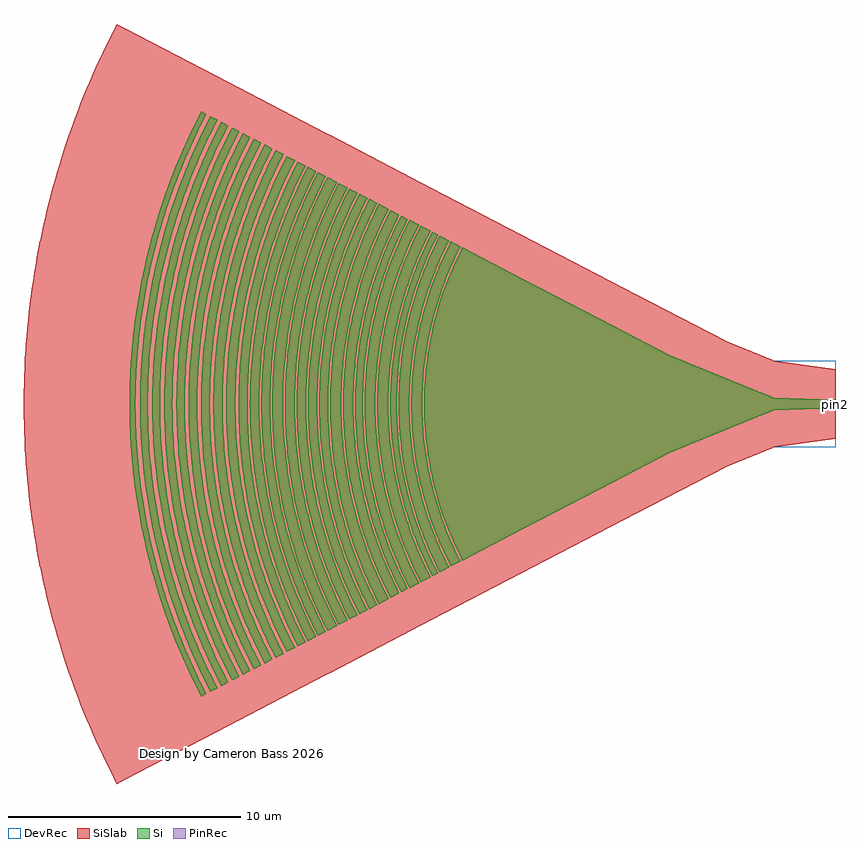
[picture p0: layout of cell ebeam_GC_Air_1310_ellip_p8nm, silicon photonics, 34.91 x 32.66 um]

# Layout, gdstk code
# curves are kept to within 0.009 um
import gdstk
lib = gdstk.Library(unit=1e-6, precision=1e-09)
def P(c, l, *ps):  # polygons
    for p in ps: c.add(gdstk.Polygon(p, *l))
Si = (1, 0)
PinRec = (1, 10)
SiSlab = (2, 0)
DevRec = (68, 0)

ebeam_gc_air_1310_ellip_ = lib.new_cell('ebeam_GC_Air_1310_ellip_p8nm')
P(ebeam_gc_air_1310_ellip_, Si, [(-16.051,-6.727),(-16.417,-5.972),(-16.792,-5.056),(-17.021,-4.386),(-17.286,-3.433),(-17.462,-2.602),(-17.589,-1.764),(-17.667,-0.919),(-17.695,-0.071),(-17.667,0.919),(-17.589,1.764),(-17.462,2.603),(-17.286,3.433),(-17.021,4.386),(-16.792,5.056),(-16.417,5.972),(-16.051,6.727),(-7.089,2.064),(-2.649,0.258),(0,0.175),(0,-0.175),(-2.649,-0.258),(-2.689,-0.269),(-2.843,-0.344),(-3.197,-0.477),(-7.12,-2.077)],
  [(-16.543,-6.982),(-16.92,-6.202),(-17.257,-5.388),(-17.547,-4.555),(-17.787,-3.708),(-17.978,-2.848),(-18.118,-1.977),(-18.217,-0.955),(-18.247,-0.073),(-18.226,0.807),(-18.136,1.832),(-18.005,2.703),(-17.822,3.565),(-17.59,4.415),(-17.309,5.251),(-16.92,6.202),(-16.544,6.983),(-16.126,6.765),(-16.494,6.007),(-16.871,5.085),(-17.142,4.277),(-17.367,3.453),(-17.544,2.619),(-17.672,1.774),(-17.759,0.782),(-17.779,-0.071),(-17.759,-0.782),(-17.672,-1.774),(-17.518,-2.758),(-17.333,-3.591),(-17.1,-4.413),(-16.821,-5.218),(-16.494,-6.007),(-16.126,-6.765)],
  [(-17.024,-7.233),(-17.414,-6.426),(-17.763,-5.583),(-18.063,-4.72),(-18.312,-3.842),(-18.509,-2.951),(-18.654,-2.049),(-18.747,-1.141),(-18.774,-0.684),(-18.788,-0.076),(-18.766,0.836),(-18.691,1.747),(-18.634,2.2),(-18.537,2.8),(-18.348,3.694),(-18.108,4.574),(-17.817,5.44),(-17.414,6.426),(-17.024,7.233),(-16.617,7.021),(-16.874,6.506),(-17.057,6.102),(-17.388,5.28),(-17.67,4.44),(-17.904,3.585),(-18.087,2.719),(-18.22,1.842),(-18.301,0.959),(-18.331,0.074),(-18.31,-0.812),(-18.22,-1.842),(-18.087,-2.719),(-17.904,-3.585),(-17.67,-4.44),(-17.336,-5.418),(-16.997,-6.237),(-16.617,-7.021)],
  [(-17.344,-7.4),(-17.546,-6.998),(-17.806,-6.432),(-18.156,-5.566),(-18.407,-4.829),(-18.662,-3.931),(-18.864,-3.018),(-18.945,-2.558),(-19.032,-1.942),(-19.118,-1.012),(-19.149,-0.078),(-19.145,0.389),(-19.118,1.012),(-19.032,1.942),(-18.892,2.865),(-18.699,3.78),(-18.453,4.68),(-18.156,5.566),(-17.743,6.575),(-17.344,7.4),(-17.099,7.271),(-17.553,6.321),(-17.896,5.469),(-18.096,4.891),(-18.274,4.306),(-18.393,3.863),(-18.531,3.266),(-18.695,2.363),(-18.791,1.604),(-18.85,0.842),(-18.872,0.077),(-18.857,-0.689),(-18.806,-1.451),(-18.695,-2.363),(-18.562,-3.116),(-18.465,-3.565),(-18.315,-4.158),(-18.188,-4.6),(-17.998,-5.181),(-17.787,-5.755),(-17.553,-6.321),(-17.099,-7.271)],
  [(-17.84,-7.658),(-18.252,-6.804),(-18.679,-5.761),(-18.987,-4.844),(-19.241,-3.912),(-19.441,-2.965),(-19.585,-2.01),(-19.674,-1.046),(-19.707,-0.08),(-19.683,0.886),(-19.604,1.85),(-19.469,2.807),(-19.348,3.441),(-19.241,3.912),(-18.987,4.844),(-18.679,5.761),(-18.252,6.805),(-17.84,7.658),(-17.419,7.438),(-17.82,6.61),(-18.179,5.742),(-18.487,4.855),(-18.743,3.952),(-18.975,2.881),(-19.115,1.952),(-19.179,1.329),(-19.211,0.86),(-19.233,0.078),(-19.211,-0.86),(-19.179,-1.329),(-19.115,-1.952),(-18.975,-2.881),(-18.78,-3.799),(-18.487,-4.855),(-18.179,-5.742),(-17.82,-6.61),(-17.419,-7.438)],
  [(-18.32,-7.908),(-18.746,-7.026),(-19.006,-6.414),(-19.185,-5.949),(-19.505,-5.002),(-19.767,-4.039),(-19.973,-3.062),(-20.123,-2.075),(-20.214,-1.082),(-20.248,-0.083),(-20.224,0.915),(-20.142,1.91),(-20.03,2.734),(-19.911,3.39),(-19.806,3.878),(-19.643,4.523),(-19.505,5.002),(-19.186,5.949),(-19.006,6.414),(-18.746,7.027),(-18.32,7.908),(-17.916,7.697),(-18.331,6.84),(-18.523,6.394),(-18.759,5.79),(-19.068,4.87),(-19.324,3.932),(-19.525,2.981),(-19.67,2.02),(-19.76,1.052),(-19.793,0.081),(-19.769,-0.891),(-19.689,-1.859),(-19.605,-2.502),(-19.525,-2.981),(-19.324,-3.931),(-19.068,-4.869),(-18.92,-5.331),(-18.702,-5.942),(-18.331,-6.84),(-17.916,-7.697)],
  [(-18.682,-8.096),(-18.976,-7.502),(-19.187,-7.037),(-19.569,-6.09),(-19.895,-5.121),(-20.164,-4.135),(-20.375,-3.135),(-20.528,-2.124),(-20.622,-1.107),(-20.656,-0.085),(-20.632,0.936),(-20.548,1.956),(-20.405,2.967),(-20.277,3.637),(-20.164,4.135),(-19.895,5.121),(-19.569,6.09),(-19.187,7.038),(-18.976,7.503),(-18.682,8.096),(-18.395,7.947),(-18.684,7.366),(-18.958,6.755),(-19.147,6.291),(-19.378,5.663),(-19.536,5.187),(-19.724,4.545),(-19.888,3.896),(-19.994,3.406),(-20.139,2.583),(-20.244,1.753),(-20.309,0.92),(-20.333,0.084),(-20.309,-0.92),(-20.244,-1.753),(-20.139,-2.583),(-19.994,-3.406),(-19.888,-3.896),(-19.724,-4.545),(-19.536,-5.187),(-19.378,-5.663),(-19.207,-6.134),(-18.958,-6.755),(-18.684,-7.366),(-18.395,-7.946)],
  [(-19.14,-8.335),(-19.589,-7.406),(-19.864,-6.76),(-20.054,-6.27),(-20.389,-5.272),(-20.666,-4.257),(-20.883,-3.227),(-21.041,-2.187),(-21.137,-1.14),(-21.173,-0.088),(-21.163,0.614),(-21.137,1.14),(-21.041,2.187),(-20.883,3.227),(-20.666,4.257),(-20.389,5.272),(-20.054,6.27),(-19.66,7.246),(-19.443,7.724),(-19.14,8.335),(-18.758,8.135),(-19.197,7.229),(-19.465,6.598),(-19.649,6.119),(-19.976,5.146),(-20.247,4.155),(-20.459,3.151),(-20.613,2.135),(-20.707,1.112),(-20.742,0.086),(-20.717,-0.942),(-20.633,-1.965),(-20.489,-2.982),(-20.395,-3.486),(-20.247,-4.155),(-19.976,-5.146),(-19.764,-5.796),(-19.589,-6.279),(-19.197,-7.228),(-18.758,-8.135)],
  [(-19.639,-8.595),(-20.1,-7.639),(-20.515,-6.637),(-20.871,-5.611),(-21.167,-4.567),(-21.401,-3.508),(-21.574,-2.436),(-21.684,-1.356),(-21.715,-0.814),(-21.733,-0.09),(-21.707,0.994),(-21.617,2.077),(-21.466,3.151),(-21.33,3.862),(-21.21,4.392),(-20.925,5.438),(-20.579,6.467),(-20.173,7.474),(-19.949,7.968),(-19.639,8.595),(-19.216,8.374),(-19.667,7.441),(-20.072,6.464),(-20.47,5.298),(-20.706,4.448),(-20.934,3.416),(-21.103,2.373),(-21.181,1.672),(-21.222,1.144),(-21.258,0.088),(-21.253,-0.441),(-21.222,-1.144),(-21.125,-2.197),(-20.967,-3.243),(-20.748,-4.277),(-20.47,-5.297),(-20.308,-5.8),(-20.072,-6.464),(-19.667,-7.441),(-19.216,-8.374)],
  [(-20.054,-8.811),(-20.528,-7.829),(-20.953,-6.802),(-21.319,-5.75),(-21.622,-4.68),(-21.862,-3.595),(-22.039,-2.496),(-22.152,-1.39),(-22.184,-0.834),(-22.202,-0.093),(-22.175,1.019),(-22.084,2.128),(-22.014,2.68),(-21.896,3.412),(-21.666,4.501),(-21.373,5.573),(-21.019,6.628),(-20.603,7.66),(-20.373,8.166),(-20.054,8.811),(-19.718,8.635),(-20.182,7.675),(-20.599,6.667),(-20.956,5.638),(-21.253,4.588),(-21.489,3.523),(-21.583,2.987),(-21.685,2.267),(-21.785,1.18),(-21.822,0.091),(-21.812,-0.636),(-21.743,-1.724),(-21.638,-2.627),(-21.454,-3.701),(-21.338,-4.234),(-21.161,-4.94),(-20.956,-5.637),(-20.724,-6.326),(-20.534,-6.836),(-20.256,-7.508),(-20.03,-8.005),(-19.718,-8.635)],
  [(-20.474,-9.03),(-20.961,-8.022),(-21.397,-6.969),(-21.771,-5.892),(-22.082,-4.796),(-22.253,-4.056),(-22.363,-3.496),(-22.533,-2.369),(-22.638,-1.235),(-22.677,-0.095),(-22.649,1.044),(-22.555,2.181),(-22.396,3.309),(-22.292,3.87),(-22.127,4.612),(-21.827,5.711),(-21.654,6.254),(-21.464,6.791),(-21.038,7.848),(-20.721,8.538),(-20.474,9.03),(-20.13,8.85),(-20.607,7.864),(-21.034,6.832),(-21.399,5.777),(-21.609,5.062),(-21.749,4.52),(-21.98,3.428),(-22.147,2.323),(-22.249,1.209),(-22.277,0.652),(-22.287,0.093),(-22.269,-0.838),(-22.206,-1.767),(-22.098,-2.692),(-21.91,-3.793),(-21.792,-4.339),(-21.609,-5.062),(-21.399,-5.777),(-21.224,-6.306),(-21.034,-6.831),(-20.756,-7.523),(-20.451,-8.203),(-20.13,-8.85)],
  [(-20.909,-9.256),(-21.162,-8.751),(-21.488,-8.042),(-21.925,-6.959),(-22.297,-5.852),(-22.558,-4.915),(-22.692,-4.346),(-22.846,-3.582),(-23.021,-2.428),(-23.128,-1.264),(-23.167,-0.097),(-23.162,0.487),(-23.128,1.264),(-23.021,2.428),(-22.846,3.583),(-22.604,4.726),(-22.297,5.852),(-21.925,6.96),(-21.488,8.043),(-21.162,8.75),(-20.909,9.256),(-20.554,9.07),(-20.885,8.404),(-21.121,7.883),(-21.549,6.82),(-21.913,5.736),(-22.215,4.631),(-22.452,3.512),(-22.623,2.38),(-22.728,1.239),(-22.767,0.096),(-22.748,-0.859),(-22.684,-1.81),(-22.573,-2.758),(-22.38,-3.886),(-22.215,-4.631),(-22.072,-5.186),(-21.857,-5.918),(-21.677,-6.461),(-21.482,-6.999),(-21.197,-7.707),(-20.885,-8.404),(-20.554,-9.07)],
  [(-21.36,-9.491),(-21.706,-8.793),(-21.953,-8.247),(-22.401,-7.137),(-22.783,-6.001),(-23.098,-4.846),(-23.346,-3.674),(-23.525,-2.49),(-23.635,-1.297),(-23.675,-0.1),(-23.67,0.499),(-23.635,1.298),(-23.525,2.49),(-23.346,3.674),(-23.098,4.846),(-22.783,6.001),(-22.401,7.137),(-21.953,8.248),(-21.706,8.793),(-21.36,9.491),(-20.984,9.294),(-21.487,8.256),(-21.936,7.172),(-22.32,6.064),(-22.488,5.502),(-22.686,4.745),(-22.929,3.598),(-23.105,2.438),(-23.212,1.27),(-23.241,0.685),(-23.252,0.098),(-23.247,-0.489),(-23.224,-1.075),(-23.167,-1.855),(-23.105,-2.438),(-22.929,-3.598),(-22.686,-4.745),(-22.488,-5.502),(-22.32,-6.064),(-21.936,-7.171),(-21.487,-8.256),(-20.984,-9.294)],
  [(-21.848,-9.744),(-22.372,-8.657),(-22.616,-8.093),(-22.842,-7.521),(-23.053,-6.944),(-23.247,-6.359),(-23.582,-5.176),(-23.767,-4.377),(-23.885,-3.773),(-23.986,-3.166),(-24.069,-2.557),(-24.182,-1.332),(-24.212,-0.717),(-24.223,-0.102),(-24.194,1.127),(-24.093,2.354),(-23.986,3.166),(-23.885,3.773),(-23.767,4.377),(-23.631,4.977),(-23.478,5.573),(-23.307,6.163),(-23.12,6.75),(-22.915,7.33),(-22.616,8.093),(-22.372,8.658),(-21.848,9.745),(-21.435,9.529),(-21.95,8.465),(-22.41,7.354),(-22.804,6.218),(-23.132,5.061),(-23.271,4.475),(-23.392,3.886),(-23.584,2.699),(-23.706,1.502),(-23.741,0.902),(-23.76,0.1),(-23.731,-1.103),(-23.673,-1.902),(-23.609,-2.5),(-23.429,-3.69),(-23.18,-4.866),(-22.863,-6.027),(-22.481,-7.166),(-22.188,-7.913),(-21.95,-8.465),(-21.696,-9.011),(-21.435,-9.529)],
  [(-22.262,-9.96),(-22.798,-8.848),(-23.047,-8.271),(-23.279,-7.687),(-23.494,-7.097),(-23.692,-6.499),(-23.872,-5.897),(-24.085,-5.087),(-24.344,-3.856),(-24.447,-3.236),(-24.532,-2.613),(-24.599,-1.988),(-24.648,-1.362),(-24.69,-0.105),(-24.684,0.524),(-24.66,1.152),(-24.557,2.405),(-24.478,3.029),(-24.381,3.65),(-24.266,4.269),(-24.085,5.087),(-23.754,6.299),(-23.562,6.899),(-23.353,7.491),(-22.883,8.657),(-22.533,9.418),(-22.262,9.96),(-21.923,9.783),(-22.278,9.067),(-22.533,8.505),(-22.848,7.744),(-23.064,7.165),(-23.264,6.581),(-23.503,5.794),(-23.663,5.197),(-23.849,4.394),(-23.968,3.789),(-24.069,3.179),(-24.198,2.158),(-24.278,1.132),(-24.308,0.103),(-24.302,-0.515),(-24.278,-1.132),(-24.198,-2.158),(-24.069,-3.179),(-23.968,-3.789),(-23.849,-4.394),(-23.663,-5.197),(-23.503,-5.793),(-23.264,-6.58),(-23.064,-7.165),(-22.772,-7.935),(-22.533,-8.504),(-22.278,-9.067),(-21.923,-9.783)],
  [(-22.696,-10.186),(-22.975,-9.63),(-23.246,-9.047),(-23.501,-8.457),(-23.738,-7.86),(-23.958,-7.256),(-24.16,-6.645),(-24.402,-5.823),(-24.562,-5.201),(-24.704,-4.574),(-24.827,-3.943),(-24.933,-3.309),(-25.02,-2.672),(-25.088,-2.033),(-25.138,-1.392),(-25.169,-0.75),(-25.181,-0.107),(-25.175,0.536),(-25.15,1.178),(-25.107,1.82),(-25.045,2.459),(-24.964,3.097),(-24.865,3.732),(-24.704,4.574),(-24.562,5.201),(-24.402,5.823),(-24.223,6.441),(-24.027,7.054),(-23.814,7.66),(-23.582,8.259),(-23.333,8.852),(-22.975,9.63),(-22.696,10.186),(-22.34,10),(-22.704,9.267),(-22.965,8.692),(-23.287,7.914),(-23.507,7.323),(-23.776,6.526),(-23.956,5.921),(-24.12,5.311),(-24.31,4.491),(-24.502,3.458),(-24.645,2.415),(-24.736,1.366),(-24.767,0.737),(-24.779,0.105),(-24.759,-0.947),(-24.667,-2.205),(-24.535,-3.249),(-24.352,-4.285),(-24.219,-4.902),(-24.013,-5.718),(-23.776,-6.526),(-23.507,-7.323),(-23.287,-7.914),(-22.965,-8.692),(-22.704,-9.267),(-22.34,-10)],
  [(-23.128,-10.411),(-23.511,-9.64),(-23.782,-9.042),(-24.274,-7.824),(-24.628,-6.788),(-24.816,-6.159),(-24.986,-5.525),(-25.137,-4.887),(-25.27,-4.244),(-25.384,-3.596),(-25.479,-2.947),(-25.555,-2.295),(-25.627,-1.422),(-25.659,-0.766),(-25.671,-0.109),(-25.665,0.547),(-25.64,1.203),(-25.595,1.859),(-25.532,2.512),(-25.449,3.164),(-25.31,4.028),(-25.183,4.673),(-25.038,5.313),(-24.874,5.949),(-24.692,6.579),(-24.492,7.206),(-24.274,7.825),(-23.782,9.042),(-23.511,9.64),(-23.128,10.411),(-22.788,10.234),(-23.342,9.088),(-23.598,8.495),(-23.912,7.693),(-24.193,6.881),(-24.444,6.057),(-24.663,5.224),(-24.806,4.594),(-25.003,3.537),(-25.096,2.898),(-25.171,2.256),(-25.254,1.184),(-25.286,0.108),(-25.265,-0.969),(-25.171,-2.256),(-25.003,-3.537),(-24.806,-4.594),(-24.663,-5.224),(-24.444,-6.057),(-24.193,-6.881),(-23.912,-7.693),(-23.598,-8.495),(-23.342,-9.088),(-23.069,-9.673),(-22.788,-10.233)],
  [(-23.597,-10.656),(-23.895,-10.063),(-24.27,-9.249),(-24.53,-8.63),(-24.773,-8.004),(-25.135,-6.944),(-25.328,-6.3),(-25.502,-5.652),(-25.657,-4.998),(-25.792,-4.341),(-25.944,-3.457),(-26.035,-2.792),(-26.106,-2.124),(-26.158,-1.455),(-26.191,-0.783),(-26.204,-0.112),(-26.197,0.56),(-26.171,1.231),(-26.126,1.902),(-26.061,2.57),(-25.976,3.236),(-25.872,3.9),(-25.704,4.78),(-25.555,5.435),(-25.388,6.085),(-25.201,6.73),(-24.996,7.371),(-24.773,8.004),(-24.53,8.63),(-24.27,9.249),(-23.992,9.861),(-23.597,10.656),(-23.246,10.472),(-23.537,9.893),(-23.816,9.295),(-24.078,8.689),(-24.399,7.869),(-24.618,7.246),(-24.883,6.407),(-25.115,5.557),(-25.314,4.699),(-25.516,3.617),(-25.665,2.526),(-25.728,1.869),(-25.773,1.211),(-25.805,0.11),(-25.784,-0.991),(-25.746,-1.649),(-25.688,-2.307),(-25.55,-3.4),(-25.441,-4.051),(-25.314,-4.699),(-25.168,-5.343),(-24.944,-6.195),(-24.687,-7.037),(-24.473,-7.661),(-24.161,-8.485),(-23.905,-9.094),(-23.632,-9.695),(-23.246,-10.472)],
  [(-24.08,-10.907),(-24.388,-10.294),(-24.678,-9.671),(-24.951,-9.04),(-25.205,-8.402),(-25.441,-7.757),(-25.725,-6.885),(-25.916,-6.225),(-26.087,-5.56),(-26.239,-4.89),(-26.372,-4.215),(-26.485,-3.537),(-26.578,-2.856),(-26.651,-2.173),(-26.704,-1.488),(-26.738,-0.801),(-26.751,-0.114),(-26.744,0.573),(-26.718,1.259),(-26.671,1.945),(-26.578,2.857),(-26.485,3.537),(-26.372,4.215),(-26.239,4.89),(-26.087,5.56),(-25.916,6.225),(-25.725,6.885),(-25.515,7.54),(-25.286,8.188),(-25.037,8.829),(-24.771,9.462),(-24.487,10.087),(-24.08,10.907),(-23.734,10.726),(-24.035,10.127),(-24.321,9.515),(-24.589,8.894),(-24.918,8.055),(-25.213,7.203),(-25.414,6.558),(-25.651,5.688),(-25.855,4.81),(-26.062,3.703),(-26.215,2.586),(-26.313,1.463),(-26.346,0.789),(-26.359,0.113),(-26.337,-1.014),(-26.239,-2.362),(-26.097,-3.48),(-25.901,-4.589),(-25.758,-5.25),(-25.537,-6.124),(-25.282,-6.989),(-24.994,-7.843),(-24.758,-8.476),(-24.412,-9.309),(-24.035,-10.127),(-23.734,-10.726)],
  [(-24.55,-11.152),(-24.867,-10.522),(-25.164,-9.885),(-25.443,-9.24),(-25.702,-8.588),(-25.944,-7.928),(-26.165,-7.261),(-26.429,-6.363),(-26.605,-5.683),(-26.76,-4.998),(-26.896,-4.308),(-27.011,-3.615),(-27.106,-2.92),(-27.181,-2.221),(-27.236,-1.52),(-27.27,-0.819),(-27.283,-0.117),(-27.27,0.819),(-27.236,1.521),(-27.181,2.222),(-27.106,2.92),(-27.011,3.615),(-26.896,4.308),(-26.76,4.998),(-26.605,5.683),(-26.429,6.363),(-26.234,7.037),(-26.019,7.707),(-25.785,8.369),(-25.531,9.024),(-25.259,9.671),(-24.867,10.522),(-24.55,11.152),(-24.215,10.977),(-24.626,10.152),(-24.913,9.522),(-25.266,8.67),(-25.508,8.022),(-25.803,7.149),(-26.001,6.487),(-26.181,5.818),(-26.389,4.92),(-26.601,3.788),(-26.757,2.645),(-26.858,1.497),(-26.891,0.807),(-26.904,0.115),(-26.898,-0.576),(-26.871,-1.268),(-26.781,-2.416),(-26.701,-3.103),(-26.601,-3.788),(-26.389,-4.92),(-26.181,-5.818),(-26.001,-6.486),(-25.803,-7.149),(-25.508,-8.022),(-25.266,-8.67),(-24.913,-9.522),(-24.626,-10.152),(-24.215,-10.977)],
  [(-25.023,-11.398),(-25.348,-10.752),(-25.652,-10.102),(-25.936,-9.443),(-26.202,-8.776),(-26.448,-8.102),(-26.674,-7.42),(-26.881,-6.732),(-27.067,-6.039),(-27.232,-5.341),(-27.378,-4.638),(-27.502,-3.931),(-27.607,-3.221),(-27.69,-2.508),(-27.753,-1.793),(-27.804,-0.837),(-27.818,-0.12),(-27.811,0.598),(-27.783,1.315),(-27.734,2.032),(-27.665,2.746),(-27.574,3.458),(-27.422,4.402),(-27.283,5.108),(-27.124,5.807),(-26.945,6.502),(-26.745,7.192),(-26.526,7.876),(-26.287,8.552),(-26.027,9.222),(-25.652,10.102),(-25.348,10.752),(-25.023,11.398),(-24.695,11.227),(-25.117,10.38),(-25.41,9.736),(-25.684,9.084),(-26.019,8.203),(-26.32,7.31),(-26.523,6.633),(-26.707,5.949),(-26.92,5.031),(-27.136,3.873),(-27.296,2.705),(-27.365,2.001),(-27.413,1.296),(-27.447,0.118),(-27.44,-0.589),(-27.413,-1.296),(-27.321,-2.47),(-27.173,-3.64),(-27.057,-4.338),(-26.92,-5.031),(-26.707,-5.949),(-26.523,-6.632),(-26.32,-7.31),(-26.019,-8.203),(-25.771,-8.865),(-25.41,-9.736),(-25.015,-10.593),(-24.695,-11.226)],
  [(-25.485,-11.638),(-25.817,-10.978),(-26.226,-10.091),(-26.51,-9.415),(-26.775,-8.732),(-27.02,-8.041),(-27.244,-7.342),(-27.572,-6.166),(-27.793,-5.215),(-27.934,-4.495),(-28.055,-3.772),(-28.154,-3.046),(-28.232,-2.318),(-28.289,-1.587),(-28.324,-0.855),(-28.339,-0.122),(-28.324,0.855),(-28.289,1.587),(-28.232,2.318),(-28.154,3.046),(-28.055,3.772),(-27.934,4.495),(-27.793,5.215),(-27.63,5.929),(-27.447,6.639),(-27.244,7.342),(-27.02,8.041),(-26.775,8.732),(-26.51,9.415),(-26.226,10.091),(-25.817,10.978),(-25.485,11.638),(-25.169,11.473),(-25.601,10.607),(-25.9,9.949),(-26.27,9.059),(-26.523,8.382),(-26.831,7.47),(-27.038,6.778),(-27.284,5.846),(-27.444,5.141),(-27.665,3.958),(-27.77,3.242),(-27.854,2.525),(-27.947,1.325),(-27.982,0.121),(-27.959,-1.084),(-27.917,-1.804),(-27.854,-2.524),(-27.77,-3.242),(-27.665,-3.957),(-27.444,-5.14),(-27.226,-6.079),(-27.038,-6.777),(-26.831,-7.47),(-26.523,-8.382),(-26.27,-9.059),(-25.9,-9.949),(-25.601,-10.607),(-25.169,-11.473)],
  [(-25.95,-11.88),(-26.289,-11.207),(-26.606,-10.528),(-26.902,-9.842),(-27.179,-9.147),(-27.436,-8.444),(-27.672,-7.733),(-27.887,-7.017),(-28.081,-6.294),(-28.306,-5.323),(-28.451,-4.588),(-28.573,-3.85),(-28.675,-3.109),(-28.755,-2.366),(-28.813,-1.619),(-28.849,-0.872),(-28.863,-0.125),(-28.849,0.872),(-28.813,1.619),(-28.755,2.366),(-28.675,3.11),(-28.573,3.851),(-28.451,4.588),(-28.306,5.323),(-28.14,6.052),(-27.954,6.777),(-27.746,7.495),(-27.517,8.208),(-27.268,8.913),(-26.997,9.611),(-26.606,10.528),(-26.289,11.206),(-25.95,11.881),(-25.639,11.718),(-25.974,11.054),(-26.386,10.161),(-26.672,9.48),(-26.939,8.792),(-27.261,7.862),(-27.549,6.922),(-27.74,6.209),(-27.963,5.25),(-28.188,4.042),(-28.355,2.823),(-28.427,2.088),(-28.477,1.353),(-28.513,0.123),(-28.505,-0.615),(-28.477,-1.353),(-28.381,-2.578),(-28.295,-3.311),(-28.188,-4.041),(-27.963,-5.25),(-27.799,-5.97),(-27.549,-6.921),(-27.261,-7.862),(-27.022,-8.56),(-26.672,-9.48),(-26.386,-10.16),(-26.08,-10.832),(-25.639,-11.718)],
  [(-26.409,-12.119),(-26.755,-11.432),(-27.078,-10.74),(-27.477,-9.804),(-27.753,-9.092),(-28.007,-8.373),(-28.241,-7.645),(-28.582,-6.421),(-28.812,-5.43),(-28.96,-4.68),(-29.085,-3.928),(-29.188,-3.172),(-29.27,-2.413),(-29.329,-1.653),(-29.366,-0.89),(-29.381,-0.127),(-29.373,0.636),(-29.344,1.398),(-29.292,2.16),(-29.218,2.92),(-29.122,3.676),(-28.96,4.68),(-28.812,5.43),(-28.643,6.174),(-28.453,6.913),(-28.241,7.646),(-28.007,8.373),(-27.753,9.092),(-27.477,9.804),(-27.078,10.74),(-26.755,11.431),(-26.409,12.119),(-26.108,11.962),(-26.45,11.284),(-26.769,10.602),(-27.068,9.91),(-27.435,8.975),(-27.764,8.026),(-27.988,7.307),(-28.253,6.338),(-28.427,5.605),(-28.58,4.867),(-28.711,4.126),(-28.881,2.882),(-28.991,1.631),(-29.027,0.879),(-29.042,0.126),(-29.034,-0.628),(-29.005,-1.381),(-28.908,-2.632),(-28.82,-3.38),(-28.711,-4.126),(-28.48,-5.359),(-28.253,-6.338),(-28.058,-7.065),(-27.841,-7.787),(-27.52,-8.738),(-27.256,-9.444),(-26.871,-10.372),(-26.559,-11.058),(-26.108,-11.962)],
  [(-26.879,-12.364),(-27.224,-11.677),(-27.554,-10.97),(-27.863,-10.255),(-28.243,-9.287),(-28.502,-8.553),(-28.74,-7.81),(-28.956,-7.061),(-29.151,-6.306),(-29.323,-5.546),(-29.473,-4.781),(-29.601,-4.012),(-29.707,-3.24),(-29.789,-2.465),(-29.85,-1.688),(-29.888,-0.909),(-29.903,-0.13),(-29.888,0.909),(-29.85,1.688),(-29.789,2.465),(-29.707,3.24),(-29.601,4.012),(-29.473,4.781),(-29.323,5.547),(-29.151,6.306),(-28.956,7.061),(-28.74,7.81),(-28.502,8.553),(-28.243,9.288),(-27.863,10.255),(-27.554,10.97),(-27.224,11.677),(-26.879,12.365),(-26.575,12.206),(-27.035,11.283),(-27.354,10.583),(-27.652,9.874),(-27.929,9.157),(-28.185,8.432),(-28.493,7.455),(-28.7,6.715),(-28.941,5.719),(-29.189,4.462),(-29.308,3.703),(-29.405,2.94),(-29.479,2.175),(-29.531,1.409),(-29.569,0.128),(-29.544,-1.153),(-29.499,-1.919),(-29.432,-2.685),(-29.271,-3.956),(-29.144,-4.715),(-28.996,-5.468),(-28.764,-6.466),(-28.564,-7.209),(-28.344,-7.946),(-28.016,-8.916),(-27.747,-9.636),(-27.354,-10.583),(-27.035,-11.283),(-26.575,-12.205)],
  [(-27.277,-12.572),(-27.75,-11.619),(-28.078,-10.898),(-28.384,-10.169),(-28.67,-9.431),(-29.097,-8.182),(-29.324,-7.424),(-29.529,-6.66),(-29.711,-5.89),(-29.871,-5.115),(-30.009,-4.334),(-30.124,-3.552),(-30.241,-2.503),(-30.297,-1.795),(-30.341,-0.923),(-30.356,-0.132),(-30.348,0.659),(-30.318,1.45),(-30.264,2.241),(-30.157,3.29),(-30.05,4.074),(-29.92,4.855),(-29.767,5.632),(-29.592,6.404),(-29.395,7.17),(-29.175,7.93),(-28.934,8.685),(-28.67,9.431),(-28.384,10.169),(-27.971,11.14),(-27.636,11.857),(-27.277,12.572),(-27.054,12.455),(-27.402,11.762),(-27.734,11.052),(-28.144,10.088),(-28.427,9.355),(-28.688,8.615),(-29.003,7.617),(-29.214,6.86),(-29.46,5.843),(-29.619,5.073),(-29.755,4.301),(-29.932,3.004),(-30.047,1.7),(-30.085,0.916),(-30.1,0.131),(-30.075,-1.178),(-30.029,-1.961),(-29.96,-2.743),(-29.869,-3.523),(-29.755,-4.301),(-29.619,-5.073),(-29.46,-5.842),(-29.279,-6.607),(-29.076,-7.365),(-28.85,-8.118),(-28.516,-9.109),(-28.241,-9.845),(-27.84,-10.812),(-27.515,-11.527),(-27.054,-12.455)])
P(ebeam_gc_air_1310_ellip_, SiSlab, [(-30.904,-16.329),(-31.366,-15.41),(-31.801,-14.477),(-32.208,-13.533),(-32.588,-12.577),(-32.94,-11.61),(-33.264,-10.634),(-33.559,-9.648),(-33.825,-8.655),(-34.062,-7.654),(-34.27,-6.647),(-34.449,-5.634),(-34.598,-4.616),(-34.717,-3.594),(-34.807,-2.569),(-34.867,-1.543),(-34.9,-0.171),(-34.89,0.857),(-34.85,1.885),(-34.781,2.912),(-34.681,3.935),(-34.552,4.956),(-34.393,5.972),(-34.135,7.319),(-33.907,8.322),(-33.651,9.318),(-33.365,10.307),(-33.051,11.286),(-32.709,12.256),(-32.338,13.216),(-31.94,14.164),(-31.366,15.41),(-30.904,16.329),(-4.744,2.708),(-2.65,1.855),(0,1.5),(0,-1.5),(-2.65,-1.855),(-4.728,-2.7)])
P(ebeam_gc_air_1310_ellip_, DevRec, [(-30.904,-16.329),(-31.366,-15.41),(-31.801,-14.477),(-32.208,-13.533),(-32.588,-12.577),(-32.94,-11.61),(-33.264,-10.634),(-33.559,-9.648),(-33.825,-8.655),(-34.062,-7.654),(-34.27,-6.647),(-34.449,-5.634),(-34.598,-4.616),(-34.717,-3.594),(-34.807,-2.569),(-34.867,-1.543),(-34.9,-0.171),(-34.89,0.857),(-34.85,1.885),(-34.781,2.912),(-34.681,3.935),(-34.552,4.956),(-34.393,5.972),(-34.135,7.319),(-33.907,8.322),(-33.651,9.318),(-33.365,10.307),(-33.051,11.286),(-32.709,12.256),(-32.338,13.216),(-31.94,14.164),(-31.366,15.41),(-30.904,16.329),(-4.744,2.708),(-2.65,1.855),(0,1.855),(0,-1.855),(-2.65,-1.855),(-4.728,-2.7)])
ebeam_gc_air_1310_ellip_.add(gdstk.FlexPath([(-0.01,0),(0.01,0)], 0.35, ends="flush", simple_path=True, layer=1, datatype=10))  # PinRec
ebeam_gc_air_1310_ellip_.add(gdstk.Label('pin2', (0,0), layer=1, texttype=10))
ebeam_gc_air_1310_ellip_.add(gdstk.Label('Design by Cameron Bass 2026', (-25.94,-15.02), layer=10, texttype=0))

lib.write_gds('ebeam_GC_Air_1310_ellip_p8nm.gds')
